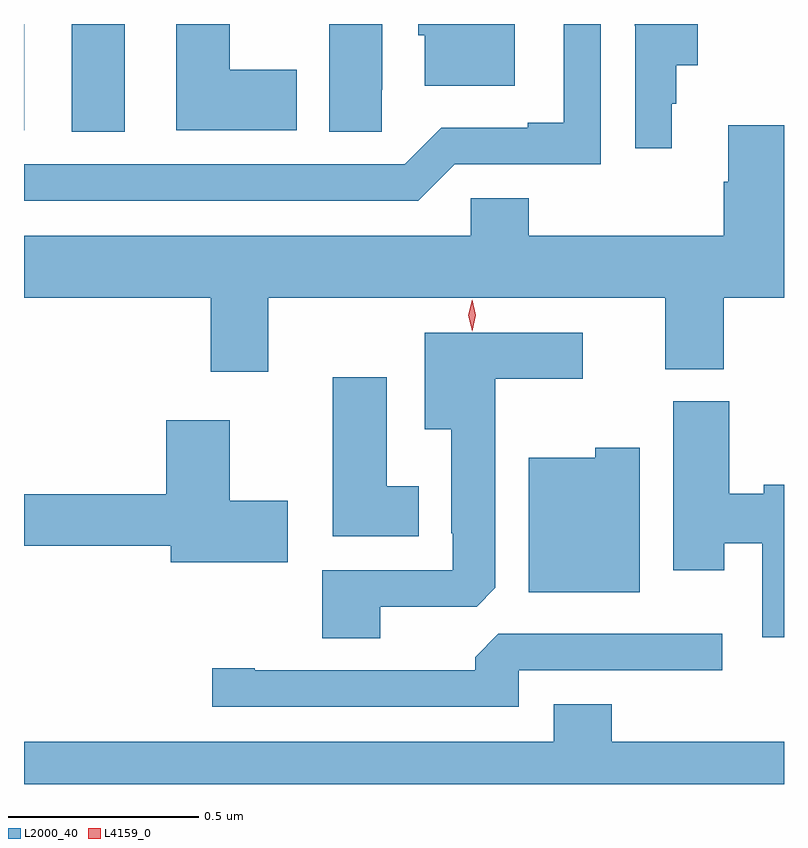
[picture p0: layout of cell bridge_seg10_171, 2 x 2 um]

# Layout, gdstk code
import gdstk
lib = gdstk.Library(unit=1e-6, precision=1e-09)
def R(c, l, rs):  # rectangles x0, y0, x1, y1
    for r in rs: c.add(gdstk.rectangle(r[:2], r[2:], *l))
def P(c, l, *ps):  # polygons
    for p in ps: c.add(gdstk.Polygon(p, *l))
L2000_40 = (2000, 40)
L4159_0 = (4159, 0)

bridge_seg10_171 = lib.new_cell('bridge_seg10_171')
R(bridge_seg10_171, L2000_40, [(228.59,1292.761,228.73,1293.045), (228.465,1292.766,228.466,1293.045)])
P(bridge_seg10_171, L2000_40, [(229.183,1292.925),(229.006,1292.925),(229.006,1293.045),(228.866,1293.045),(228.866,1292.765),(229.183,1292.765)],
  [(229.407,1292.872),(229.408,1292.872),(229.408,1293.045),(229.268,1293.045),(229.268,1292.761),(229.407,1292.761)],
  [(230.17,1292.835),(230.182,1292.835),(230.182,1292.936),(230.238,1292.936),(230.238,1293.045),(230.072,1293.045),(230.072,1293.04),(230.073,1293.04),(230.073,1292.718),(230.17,1292.718)],
  [(229.599,1292.676),(229.983,1292.676),(229.983,1293.045),(229.886,1293.045),(229.886,1292.785),(229.79,1292.785),(229.79,1292.772),(229.563,1292.772),(229.467,1292.676),(228.465,1292.676),(228.465,1292.58),(229.503,1292.58)],
  [(229.756,1293.045),(229.502,1293.045),(229.502,1293.015),(229.52,1293.015),(229.52,1292.882),(229.756,1292.882)],
  [(229.108,1292.324),(230.153,1292.324),(230.153,1292.137),(230.306,1292.137),(230.306,1292.324),(230.465,1292.324),(230.465,1292.779),(230.318,1292.779),(230.318,1292.63),(230.306,1292.63),(230.306,1292.488),(229.793,1292.488),(229.793,1292.586),(229.641,1292.586),(229.641,1292.488),(228.465,1292.488),(228.465,1292.324),(228.956,1292.324),(228.956,1292.13),(229.108,1292.13)],
  [(229.402,1291.512),(229.656,1291.512),(229.705,1291.561),(229.705,1292.111),(229.936,1292.111),(229.936,1292.233),(229.52,1292.233),(229.52,1291.979),(229.589,1291.979),(229.589,1291.705),(229.593,1291.705),(229.593,1291.608),(229.25,1291.608),(229.25,1291.429),(229.402,1291.429)],
  [(229.504,1291.828),(229.42,1291.828),(229.42,1292.116),(229.277,1292.116),(229.277,1291.697),(229.504,1291.697)],
  [(230.465,1291.832),(230.412,1291.832),(230.412,1291.809),(230.321,1291.809),(230.321,1292.052),(230.174,1292.052),(230.174,1291.608),(230.308,1291.608),(230.308,1291.679),(230.408,1291.679),(230.408,1291.431),(230.465,1291.431)],
  [(229.159,1291.791),(229.006,1291.791),(229.006,1292.002),(228.839,1292.002),(228.839,1291.808),(228.465,1291.808),(228.465,1291.672),(228.851,1291.672),(228.851,1291.628),(229.159,1291.628)],
  [(230.086,1291.93),(229.968,1291.93),(229.968,1291.903),(229.793,1291.903),(229.793,1291.55),(230.086,1291.55)],
  [(229.767,1291.344),(230.302,1291.344),(230.302,1291.44),(229.713,1291.44),(229.652,1291.378),(229.652,1291.344),(229.072,1291.344),(229.072,1291.349),(228.96,1291.349),(228.96,1291.248),(229.767,1291.248)],
  [(230.465,1291.156),(230.012,1291.156),(230.012,1291.255),(229.859,1291.255),(229.859,1291.156),(228.465,1291.156),(228.465,1291.045),(230.465,1291.045)])
P(bridge_seg10_171, L4159_0, [(229.644,1292.236),(229.644,1292.237),(229.634,1292.278),(229.644,1292.319),(229.644,1292.319),(229.644,1292.319),(229.654,1292.278),(229.644,1292.237)])

lib.write_gds('bridge_seg10_171.gds')
